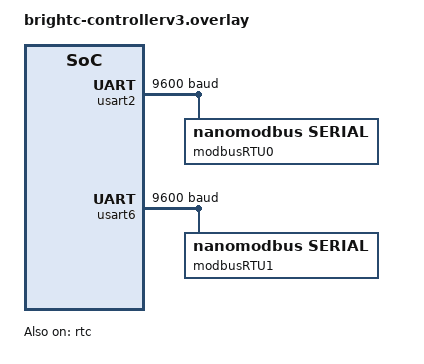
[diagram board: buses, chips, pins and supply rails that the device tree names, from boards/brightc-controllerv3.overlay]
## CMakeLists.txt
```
#-------------------------------------------------------------------------------
# Zephyr Example Application
#
# Copyright (c) 2021 Nordic Semiconductor ASA
# SPDX-License-Identifier: Apache-2.0

cmake_minimum_required(VERSION 3.13.1)
find_package(Zephyr REQUIRED HINTS $ENV{ZEPHYR_BASE})

project(app LANGUAGES C)

target_sources(app PRIVATE
    src/main.c
    src/application/active_objects/ao_modbus.c
    src/application/active_objects/ao_network.c
    src/application/active_objects/ao_sensor_matrix.c
    src/application/zbus/network_channels.c
    src/application/modbus/modbus_registry.c
    src/application/modbus/modbus_device_table.c
    src/domain/services/cwt_tm16pt_codec.c
    src/domain/services/jsy_mk339_codec.c
    src/domain/services/mbsl32di_codec.c
    src/domain/services/sensor_matrix_mapper.c
    src/domain/services/thermodynamic_engine.c
    src/domain/services/slave_scheduler.c
    src/domain/services/waveshare_relay_codec.c
    src/application/active_objects/ao_storage.c
    src/application/active_objects/ao_system_indicator.c
    src/application/active_objects/ao_digital_input.c
    src/application/zbus/config_channels.c
    src/application/zbus/indicator_channels.c
    src/application/zbus/digital_input_channels.c
    src/domain/services/digital_input_aggregator.c
    src/infrastructure/adapters/adapter_led_gpio.c
    src/infrastructure/adapters/adapter_buzzer_pwm.c
    src/infrastructure/adapters/adapter_di_gpio.c
    src/infrastructure/adapters/adapter_relay_gpio.c
    src/infrastructure/adapters/adapter_sensor_zephyr.c
    src/infrastructure/di/app_event_mediator.c
    src/infrastructure/di/composition_root.c
    src/domain/models/hvac_unit_entity.c
    src/domain/models/hvac_group_entity.c
    src/application/zbus/hvac_channels.c
    src/application/zbus/sensor_channels.c
    src/infrastructure/adapters/adapter_hvac_actuator.c
    src/application/active_objects/ao_hvac.c
    src/application/services/app_facade.c
    src/domain/alarm/alarm_entity.c
    src/domain/alarm/alarm_aggregate.c
    src/domain/alarm/alarm_evaluator.c
    src/domain/alarm/alarm_registry.c
    src/application/zbus/alarm_channels.c
    src/application/active_objects/ao_alarm_manager.c
    src/infrastructure/adapters/adapter_alarm_detector_di.c
    src/infrastructure/adapters/adapter_alarm_detector_temp.c
    src/infrastructure/adapters/adapter_alarm_detector_volt.c
    src/infrastructure/adapters/adapter_alarm_detector_hvac.c
    src/domain/thermal_energy/humidity_transducer.c
    src/domain/thermal_energy/psychrometrics.c
    src/domain/thermal_energy/thermodynamics.c
    src/domain/thermal_energy/compressor_fsm.c
    src/domain/thermal_energy/predictive_analytics.c
    src/infrastructure/adapters/sensor_matrix_mapper.c
    src/application/zbus/thermal_channels.c
    src/application/active_objects/ao_thermal_energy.c
    src/domain/time/rtc_time_calc.c
    src/infrastructure/adapters/adapter_rtc_zephyr.c
    src/domain/storage/sd_lifecycle_sm.c
    src/application/zbus/storage_channels.c
    src/application/active_objects/ao_storage_sd.c
    src/infrastructure/adapters/adapter_storage_sd_zephyr.c
    src/infrastructure/adapters/adapter_modbus_tcp_server.c
    src/application/active_objects/ao_modbus_tcp.c
    src/domain/storage/bkpsram_ring.c
    src/infrastructure/adapters/adapter_bkpsram_stm32.c
    src/domain/datalogger/datalogger_formatters.c
    src/application/active_objects/ao_datalogger.c
    src/application/services/telemetry_sampler.c
    src/application/services/datalogger_streamer.c
    src/application/zbus/system_channels.c
)

if(CONFIG_SHELL)
    target_sources(app PRIVATE
        src/presentation/shell/shell_brightc.c
        src/presentation/shell/shell_snmp.c
    )
endif()

if(CONFIG_SNMP_AGENT)
    target_sources(app PRIVATE
        src/infrastructure/adapters/adapter_snmp_traps.c
        src/infrastructure/adapters/adapter_snmp_telemetry.c
    )
endif()

if(CONFIG_MICROCONF)
    target_sources(app PRIVATE
        src/infrastructure/adapters/adapter_storage_microconf.c
    )
endif()

if(CONFIG_NETWORKING)
    target_sources(app PRIVATE
        src/infrastructure/adapters/adapter_eth_stm32.c
        src/infrastructure/adapters/adapter_wifi_esp_hosted.c
    )
endif()

target_include_directories(app PRIVATE
    include
    src
    lib
    # Public API of the out-of-tree ADC DMA engine. The header is always on the
    # include path so the composition root can reference the port-agnostic
    # adapter type even on platforms where the driver is not built.
    ${CMAKE_CURRENT_SOURCE_DIR}/../drivers/adc_dma/include
)

# The nanoMODBUS transport adapter is the only part that depends on the stack,
# so it is only compiled when the stack is enabled.
if(CONFIG_NANOMODBUS)
    target_sources(app PRIVATE
        src/infrastructure/adapters/adapter_modbus_nmbs.c
        src/infrastructure/adapters/adapter_relay_modbus.c
    )
endif()

# Bring-up diagnostic for a silent Modbus slave. Off unless the build asks for
# it, so a normal image carries no probe code at all.
if(CONFIG_APP_MODBUS_BUS_PROBE)
    target_sources(app PRIVATE src/application/diagnostics/modbus_bus_probe.c)
endif()

# The code below locates the git index file for this repository and adds it as a dependency for
# the application VERSION file so that if the repo has a new commit added, even if no files in
# the build have changed, the application version file will be regenerated with the new git commit
find_package(Git QUIET)
if(GIT_FOUND)
  execute_process(
    COMMAND ${GIT_EXECUTABLE} rev-parse --absolute-git-dir
    WORKING_DIRECTORY .
    OUTPUT_VARIABLE application_git_dir
    OUTPUT_STRIP_TRAILING_WHITESPACE
    ERROR_STRIP_TRAILING_WHITESPACE
    ERROR_VARIABLE stderr
    RESULT_VARIABLE return_code
  )
  # If there is an error e.g. it is not a git repo, we just silently ignore it and continue
  # without a dependency, this will be the case with freestanding applications.
  if(NOT return_code)
    if(NOT "${stderr}" STREQUAL "")
      message(WARNING "Application build version git rev-parse warned: ${stderr}")
    endif()

    set_property(TARGET app_version_h PROPERTY APP_VERSION_DEPENDS ${application_git_dir}/index)
  endif()
endif()
```

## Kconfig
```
# Copyright (c) 2021 Nordic Semiconductor ASA
# SPDX-License-Identifier: Apache-2.0
#
# This file is the application Kconfig entry point. All application Kconfig
# options can be defined here or included via other application Kconfig files.
# You can browse these options using the west targets menuconfig (terminal) or
# guiconfig (GUI).

menu "Zephyr"
source "Kconfig.zephyr"
endmenu

module = APP
module-str = APP
source "subsys/logging/Kconfig.template.log_config"

config APP_MODBUS_BUS_PROBE
	bool "Modbus bring-up diagnostic"
	depends on NANOMODBUS
	default n
	help
	  Sweep the Modbus slave addresses and the energy-meter register window
	  once at boot, before the polling threads claim the bus, and log every
	  outcome. It separates an addressing problem from a register-map one on
	  a slave that answers nothing. Diagnostic builds only: it costs one
	  transaction per probe and delays startup.

config APP_MODBUS_INTER_POLL_DELAY_MS
	int "Inter-poll turnaround delay in milliseconds"
	default 40
	range 0 1000
	help
	  Turnaround delay between consecutive Modbus transactions on the same
	  RS-485 bus. Gives slave transceivers time to release the bus and
	  satisfies the Modbus RTU inter-frame silence interval (t3.5+).

menu "BrightC Network Configuration"

config BRIGHTC_WIFI_DEFAULT_SSID
	string "Default Wi-Fi Soft-AP SSID"
	default "BrightC-AP"
	help
	  Default SSID broadcasted by the soft-AP interface.

config BRIGHTC_WIFI_DEFAULT_PSK
	string "Default Wi-Fi Soft-AP Pre-Shared Key (PSK)"
	default "12345678"
	help
	  Default WPA2 pre-shared key for the soft-AP interface.

config BRIGHTC_WIFI_DEFAULT_IP
	hex "Default Wi-Fi Soft-AP IPv4 Address"
	default 0xC0A80401
	help
	  Default IPv4 address of the soft-AP (0xC0A80401 = 192.168.4.1).

endmenu

menu "BrightC Operational Profile & Subsystem Gating"

choice BRIGHTC_SYSTEM_PROFILE
	prompt "Operating Profile"
	default BRIGHTC_PROFILE_DUAL
	help
	  Selects the compile-time operating profile of the controller.

config BRIGHTC_PROFILE_DUAL
	bool "Controller + Thermal Telemetry (Dual Profile)"
	help
	  Enables both HVAC multi-unit lead-lag sequencing and thermal/power telemetry.

config BRIGHTC_PROFILE_CONTROLLER_ONLY
	bool "HVAC Controller Only"
	help
	  Enables HVAC multi-unit sequencing and disables thermal energy telemetry.

config BRIGHTC_PROFILE_THERMAL_ONLY
	bool "Thermal Telemetry Only"
	help
	  Enables thermal energy and power telemetry and disables HVAC control sequencing.

endchoice

config APP_HVAC_SUBSYSTEM
	bool "HVAC sequencing subsystem"
	default y if BRIGHTC_PROFILE_DUAL || BRIGHTC_PROFILE_CONTROLLER_ONLY
	default n
	help
	  Internal symbol indicating HVAC control state machine is active.

config APP_THERMAL_SUBSYSTEM
	bool "Thermal energy and telemetry subsystem"
	default y if BRIGHTC_PROFILE_DUAL || BRIGHTC_PROFILE_THERMAL_ONLY
	default n
	help
	  Internal symbol indicating thermal energy calculation and telemetry are active.

config BRIGHTC_ENABLE_EXTERNAL_DI_EXPANDER
	bool "Enable external Modbus DI expander (MBSL32DI)"
	default y
	help
	  Enable remote digital input module polling on RS485-2 for additional alarm/aux inputs.

endmenu

rsource "Kconfig.modbus"


menu "BrightC Alarm Management Subsystem"

config ALARM_MANAGER_MAX_ALARMS
	int "Maximum tracked alarms in catalog"
	default 80
	range 32 256
	help
	  Maximum number of discrete and aggregated alarm descriptors and live
	  entities supported by the central alarm manager.

config AO_ALARM_MANAGER_QUEUE_DEPTH
	int "Active Object message queue depth"
	default 64
	range 16 256
	help
	  Capacity of the asynchronous condition event queue for ao_alarm_manager.

config AO_ALARM_MANAGER_STACK_SIZE
	int "Alarm Manager thread stack size"
	default 2048
	range 1024 8192
	help
	  Stack storage size allocated for the ao_alarm_manager thread.

endmenu

menu "BrightC Thermal and Energy Subsystem"

config THERMAL_HOURLY_PAIRS_COUNT
	int "Configured supply/return thermal pairs in hourly log"
	default 6
	range 1 16
	help
	  Number of supply/return temperature probe pairs stored per hourly
	  compressed record in datalogger storage.

config THERMAL_HOURLY_ROOM_PROBES_COUNT
	int "Configured room ambient probes in hourly log"
	default 2
	range 1 16
	help
	  Number of room ambient temperature probes stored per hourly
	  compressed record in datalogger storage.

config THERMAL_HOURLY_OUTDOOR_PROBES_COUNT
	int "Configured outdoor reference probes in hourly log"
	default 2
	range 1 8
	help
	  Number of outdoor ambient condenser reference probes stored per hourly
	  compressed record in datalogger storage.

endmenu

menu "BrightC Historical Datalogger & Event Logging Subsystem"

config DATALOGGER_BUFFER_SIZE
	int "Datalogger sector staging buffer size in bytes"
	default 512
	range 256 4096
	help
	  Size of sector-aligned RAM staging buffer allocated per active stream.

config DATALOGGER_FLUSH_INTERVAL_MS
	int "Datalogger inactivity hold-off flush timeout in milliseconds"
	default 5000
	range 1000 60000
	help
	  Duration of inactivity before staging buffers are automatically flushed.

endmenu
```

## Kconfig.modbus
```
# Copyright (c) 2026 DAECGE
# SPDX-License-Identifier: Apache-2.0
#
# BrightC Modbus topology - compile-time configuration (single source of truth).
#
# This fragment is sourced by app/Kconfig for production builds and by
# tests/unit/modbus/Kconfig for the unit-test build, so both compile exactly the
# same slave topology. The topology is static: it is fixed at build time and is
# never loaded from EEPROM nor edited at runtime.

menu "BrightC Modbus Configuration"

# --- 1. JSY-MK-339 3-phase AC energy meter (RS485-1) ---
menuconfig BRIGHTC_MODBUS_ENABLE_JSY_MK339
	bool "JSY-MK-339 3-Phase AC Energy Meter"
	default n
	help
	  Enable Modbus RTU polling for JSY-MK-339 3-Phase AC energy meter on RS485-1.

config BRIGHTC_MODBUS_ADDR_JSY_MK339
	int "Modbus slave address for JSY-MK-339"
	default 2
	range 1 247
	help
	  RTU slave address (1..247). Also used as the device identifier in the
	  compiled topology table.

# --- 2. CWT-TM-16PT 16-channel PT100 concentrator #1 (RS485-1) ---
menuconfig BRIGHTC_MODBUS_ENABLE_CWT_TM16PT_1
	bool "CWT-TM-16PT 16-channel PT100 Concentrator 1"
	default n
	help
	  Enable Modbus RTU polling for primary 16-channel PT100 concentrator on RS485-1.

config BRIGHTC_MODBUS_ADDR_CWT_TM16PT_1
	int "Modbus slave address for CWT-TM-16PT #1"
	default 1
	range 1 247
	help
	  RTU slave address (1..247). Also used as the device identifier in the
	  compiled topology table.

# --- 3. CWT-TM-16PT 16-channel PT100 concentrator #2 (RS485-1) ---
menuconfig BRIGHTC_MODBUS_ENABLE_CWT_TM16PT_2
	bool "CWT-TM-16PT 16-channel PT100 Concentrator 2"
	default n
	help
	  Enable Modbus RTU polling for secondary 16-channel PT100 concentrator on RS485-1.

config BRIGHTC_MODBUS_ADDR_CWT_TM16PT_2
	int "Modbus slave address for CWT-TM-16PT #2"
	default 5
	range 1 247
	help
	  RTU slave address (1..247). Also used as the device identifier in the
	  compiled topology table.

	  Every BRIGHTC_MODBUS_ADDR_* value must be unique across the whole plant,
	  not just within one bus: the registry keys devices by address, so two
	  devices sharing one would alias each other.

# --- 4. MBSL32DI 32-channel digital input module (RS485-2) ---
menuconfig BRIGHTC_MODBUS_ENABLE_MBSL32DI
	bool "MBSL32DI 32-channel Digital Input Expander"
	default n
	help
	  Enable Modbus RTU polling for 32-channel digital input module on RS485-2.

config BRIGHTC_MODBUS_ADDR_MBSL32DI
	int "Modbus slave address for MBSL32DI"
	default 3
	range 1 247
	help
	  RTU slave address (1..247). Also used as the device identifier of the
	  remote digital-input channels in hardware_pin_map.h.

# --- 5. Waveshare 32-channel relay expander (RS485-2) ---
menuconfig BRIGHTC_MODBUS_ENABLE_WAVESHARE_RELAY
	bool "Waveshare 32-channel Modbus Relay Expander"
	default n
	help
	  Enable Modbus RTU control for Waveshare 32-channel relay module on RS485-2.

config BRIGHTC_MODBUS_ADDR_WAVESHARE_RELAY
	int "Modbus slave address for Waveshare Relay"
	default 4
	range 1 247
	help
	  RTU slave address (1..247). Also used as the device identifier in the
	  compiled topology table.

endmenu
```

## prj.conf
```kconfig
# Copyright (c) 2021 Nordic Semiconductor ASA
# SPDX-License-Identifier: Apache-2.0
#
# This file contains selected Kconfig options for the application.

CONFIG_MAIN_STACK_SIZE=4096
CONFIG_SYSTEM_WORKQUEUE_STACK_SIZE=4096
CONFIG_HEAP_MEM_POOL_SIZE=32768
CONFIG_COMMON_LIBC_MALLOC_ARENA_SIZE=16384

CONFIG_LOG_BUFFER_SIZE=4096
# --- nanoMODBUS ---
CONFIG_NANOMODBUS=y
CONFIG_NANOMODBUS_CLIENT=y
CONFIG_NANOMODBUS_TRANSPORT_SERIAL=y
CONFIG_APP_MODBUS_INTER_POLL_DELAY_MS=40

# --- nanoMODBUS TCP Server ---
CONFIG_NANOMODBUS_SERVER=y
CONFIG_NANOMODBUS_TRANSPORT_TCP=y
CONFIG_NANOMODBUS_SERVER_TCP=y
CONFIG_NANOMODBUS_SERVER_TCP_STACK_SIZE=4096
CONFIG_NANOMODBUS_SERVER_TCP_PRIORITY=8
CONFIG_NANOMODBUS_SERVER_TCP_BACKLOG=4
CONFIG_NANOMODBUS_DIAGNOSTICS=y




# --- Logging (used by the composition root and the polling threads) ---
CONFIG_LOG=y
CONFIG_LOG_MODE_DEFERRED=y


# --- Thread Naming & Debugging ---
CONFIG_THREAD_NAME=y
CONFIG_DEBUG_THREAD_INFO=y

# --- Zbus ---
CONFIG_ZBUS=y

CONFIG_MAIN_STACK_SIZE=4096

# --- Networking Core & IPv4 ---
CONFIG_NETWORKING=y
CONFIG_NET_L2_ETHERNET=y
CONFIG_ETH_DRIVER=y
CONFIG_ETH_STM32_HAL=y
CONFIG_NET_IPV4=y
CONFIG_NET_DHCPV4=y
CONFIG_NET_MGMT=y
CONFIG_NET_MGMT_EVENT=y
CONFIG_NET_SOCKETS=y
CONFIG_NET_IF_MAX_IPV4_COUNT=3

# --- Network Buffer and Stacks ---
CONFIG_NET_RX_STACK_SIZE=4096
CONFIG_NET_TX_STACK_SIZE=4096
CONFIG_NET_MGMT_EVENT_STACK_SIZE=2048
CONFIG_NET_PKT_RX_COUNT=16
CONFIG_NET_PKT_TX_COUNT=16
CONFIG_NET_BUF_RX_COUNT=32
CONFIG_NET_BUF_TX_COUNT=32

# --- Wi-Fi Subsystem (ESP-Hosted-MCU) ---
CONFIG_WIFI=y
CONFIG_WIFI_ESP_HOSTED_MCU=y
CONFIG_ESP_HOSTED_MCU_INIT_PRIORITY=75
CONFIG_WIFI_ESP_HOSTED_MCU_AP_STA_MODE=y
CONFIG_ESP_HOSTED_MCU_EVENT_TASK_PRIORITY=-2
CONFIG_WIFI_NM_MAX_MANAGED_INTERFACES=2

# --- Native Zephyr WiFi/Net shell (diagnostics) ---
CONFIG_NET_L2_WIFI_SHELL=y
CONFIG_NET_SHELL=y

# --- DHCPv4 Server (Soft-AP Client IP Allocation) ---
CONFIG_NET_UDP=y
CONFIG_NET_TCP=y
CONFIG_NET_MAX_CONN=8
CONFIG_NET_MAX_CONTEXTS=16
CONFIG_ZVFS_POLL_MAX=8
CONFIG_NET_DHCPV4_SERVER=y
CONFIG_NET_DHCPV4_SERVER_INSTANCES=1
CONFIG_NET_DHCPV4_SERVER_ADDR_COUNT=8
CONFIG_NET_DHCPV4_SERVER_ADDR_LEASE_TIME=86400
CONFIG_NET_DHCPV4_SERVER_OPTION_ROUTER=y
CONFIG_NET_DHCPV4_SERVER_ICMP_PROBE_TIMEOUT=0
CONFIG_NET_DHCPV4_SERVER_NAK_UNRECOGNIZED_REQUESTS=y

# -----------------------------------------------------------------------------
# Peripherals & System
# -----------------------------------------------------------------------------
CONFIG_DCACHE=y
CONFIG_GPIO=y
CONFIG_PWM=y
CONFIG_DMA=y
CONFIG_SPI=y
CONFIG_SPI_STM32_INTERRUPT=y
CONFIG_UART_ASYNC_API=y
CONFIG_ADC_STM32_DMA=y

# --- UART RX ---
CONFIG_SERIAL=y
CONFIG_UART_INTERRUPT_DRIVEN=y
CONFIG_UART_USE_RUNTIME_CONFIGURE=y

# --- I2C & EEPROM Subsystems ---
CONFIG_I2C=y
CONFIG_EEPROM=y
CONFIG_EEPROM_AT24=y

# --- microconf Persistent Storage Engine ---
CONFIG_MICROCONF=y
CONFIG_MICROCONF_BACKEND_EEPROM=y

# --- Real-Time Clock (RTC) Subsystem ---
CONFIG_RTC=y
CONFIG_RTC_STM32=y

# --- Zephyr Shell Subsystem ---
CONFIG_SHELL=y
CONFIG_SHELL_STACK_SIZE=6144
CONFIG_SHELL_BACKENDS=y
CONFIG_SHELL_BACKEND_SERIAL=y
CONFIG_SHELL_PROMPT_UART="brightc:~$ "
CONFIG_SHELL_CMD_BUFF_SIZE=256
CONFIG_SHELL_PRINTF_BUFF_SIZE=512

# --- System Reboot ---
CONFIG_REBOOT=y

CONFIG_PICOLIBC_IO_FLOAT=y

# --- Hardware FPU (Cortex-M7 FPv5-D16 Double Precision) ---
CONFIG_FPU=y
CONFIG_FPU_SHARING=y

# --- ARM CMSIS-DSP Library Support ---
CONFIG_CMSIS_DSP=y

# --- MicroSD Storage & FAT Filesystem ---
CONFIG_DISK_ACCESS=y
CONFIG_DISK_DRIVER_SDMMC=y
CONFIG_FILE_SYSTEM=y
CONFIG_FAT_FILESYSTEM_ELM=y
CONFIG_FS_FATFS_LFN=y
CONFIG_FS_FATFS_LFN_MODE_STACK=y
CONFIG_FS_FATFS_MAX_LFN=64
CONFIG_FS_FATFS_REENTRANT=y
CONFIG_FS_FATFS_NUM_FILES=16
CONFIG_FS_FATFS_NUM_DIRS=8

# --- SNMP Agent Subsystem ---
CONFIG_SNMP_AGENT=y
CONFIG_SNMP_VERSION_1=y
CONFIG_SNMP_VERSION_2C=y
CONFIG_SNMP_TRAP_ENABLED=y
CONFIG_SNMP_TRAP_FORMAT_V2C=y
CONFIG_SNMP_TRAP_DEST_COUNT=4
CONFIG_NET_SOCKETS_SERVICE_STACK_SIZE=4096
```

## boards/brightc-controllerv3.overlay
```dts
/ {
	aliases {
		modbus-uart-1 = &usart2;
		modbus-uart-2 = &usart6;
		modbus-rtu-1 = &modbusRTU0;
		modbus-rtu-2 = &modbusRTU1;
		rtc = &rtc;
	};
};

&rtc {
	clocks = <&rcc STM32_CLOCK(APB4, 16)>,
		 <&rcc STM32_SRC_LSE RTC_SEL(1)>;
	async-prescaler = <127>;
	sync-prescaler = <255>;
	status = "okay";
};

&usart2 {
	/*default baud rate */
	current-speed = <9600>;
	/*default de-assert time */
	de-assert-time = <1>;
	/*default de-deassert time */
	de-deassert-time = <16>;

	/*nanomodbus*/
	modbusRTU0: modbusRTU0 {
		compatible = "nanomodbus,serial";
		status = "okay";
		de-mode = "hardware";
		rx-mode = "irq";
	};
};

&usart6 {
	/*default baud rate */
	current-speed = <9600>;
	/*default de-assert time */
	de-assert-time = <1>;
	/*default de-deassert time */
	de-deassert-time = <16>;

	/*nanomodbus*/
	modbusRTU1: modbusRTU1 {
		compatible = "nanomodbus,serial";
		status = "okay";
		de-mode = "hardware";
		rx-mode = "irq";
	};
};
```

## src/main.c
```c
/*
 * Copyright (c) 2026 DAECGE
 * SPDX-License-Identifier: Apache-2.0
 *
 * Application entry point. The only mutable static object of the firmware is
 * the container below; every other component receives it by reference from the
 * composition root.
 */

#include <zephyr/drivers/gpio.h>
#include <zephyr/kernel.h>
#include <zephyr/logging/log.h>

#if defined(CONFIG_APP_MODBUS_BUS_PROBE)
#include "application/diagnostics/modbus_bus_probe.h"
#endif

#include "application/services/app_facade.h"
#include "infrastructure/di/composition_root.h"

LOG_MODULE_REGISTER(main, CONFIG_APP_LOG_LEVEL);

/* Keep boot messages easy to scan when several modules are logging together. */
#define BOOT_INF(fmt, ...) LOG_INF("[BOOT] " fmt, ##__VA_ARGS__)
#define BOOT_WRN(fmt, ...) LOG_WRN("[BOOT] " fmt, ##__VA_ARGS__)
#define BOOT_ERR(fmt, ...) LOG_ERR("[BOOT] " fmt, ##__VA_ARGS__)

static app_container_t g_app;

#if DT_NODE_EXISTS(DT_ALIAS(sw0))
static const struct gpio_dt_spec s_user_button = GPIO_DT_SPEC_GET(DT_ALIAS(sw0), gpios);
#endif

static void check_boot_factory_reset(app_container_t *app)
{
#if DT_NODE_EXISTS(DT_ALIAS(sw0))
	if (!gpio_is_ready_dt(&s_user_button)) {
		return;
	}

	if (gpio_pin_configure_dt(&s_user_button, GPIO_INPUT) != 0) {
		return;
	}

	if (gpio_pin_get_dt(&s_user_button) > 0) {
		BOOT_INF("factory-reset input asserted; sampling for 5 s");
		int held_ms = 0;
		while (held_ms < 5000 && gpio_pin_get_dt(&s_user_button) > 0) {
			k_sleep(K_MSEC(100));
			held_ms += 100;
		}

		if (held_ms >= 5000) {
			BOOT_WRN("factory-reset hold confirmed; restoring persistent defaults");
			(void)app_facade_storage_reset_defaults();

			const i_led_t *led = app_container_get_led(app);
			if (led != NULL) {
				for (int i = 0; i < 5; i++) {
					(void)i_led_set_state(led, true);
					k_sleep(K_MSEC(100));
					(void)i_led_set_state(led, false);
					k_sleep(K_MSEC(100));
				}
			}
		} else {
			BOOT_INF("factory-reset hold cancelled after %d ms; continuing normal boot", held_ms);
		}
	}
#else
	ARG_UNUSED(app);
#endif
}

int main(void)
{
	BOOT_INF("BrightC telemetry controller boot sequence started");
	BOOT_INF("initializing dependency-injection container and hardware adapters");
	int err = composition_root_init(&g_app);

	if (err != 0)
	{
		BOOT_ERR("composition-root initialization failed: rc=%d", err);
		return err;
	}
	BOOT_INF("composition-root initialization complete; all required dependencies wired");

	err = app_facade_init(&g_app);
	if (err != 0) {
		BOOT_ERR("application facade initialization failed: rc=%d", err);
		return err;
	}
	BOOT_INF("application facade initialized");

	check_boot_factory_reset(&g_app);

#if defined(CONFIG_APP_MODBUS_BUS_PROBE)
	/* Must run before composition_root_start(): the polling threads of this
	 * bus would interleave their frames with the probe's. */
	const i_modbus_client_t *probe_client =
		app_container_get_modbus_client(&g_app, (uint8_t)MODBUS_BUS_RS485_1);

	if (probe_client != NULL && i_modbus_client_is_bound(probe_client))
	{
		modbus_bus_probe_run(probe_client, (uint8_t)MODBUS_BUS_RS485_1);
	}
#endif

	err = composition_root_start(&g_app);
	if (err != 0)
	{
		BOOT_ERR("composition-root start failed: rc=%d", err);
		return err;
	}

	BOOT_INF("runtime started successfully; controller is operational");

	while (true)
	{
		k_sleep(K_MSEC(1000U));
		if (g_app.datalogger.initialized) {
			(void)telemetry_sampler_tick(&g_app.datalogger.sampler, k_uptime_get() / 1000LL);
		}
	}
	return 0;
}
```
